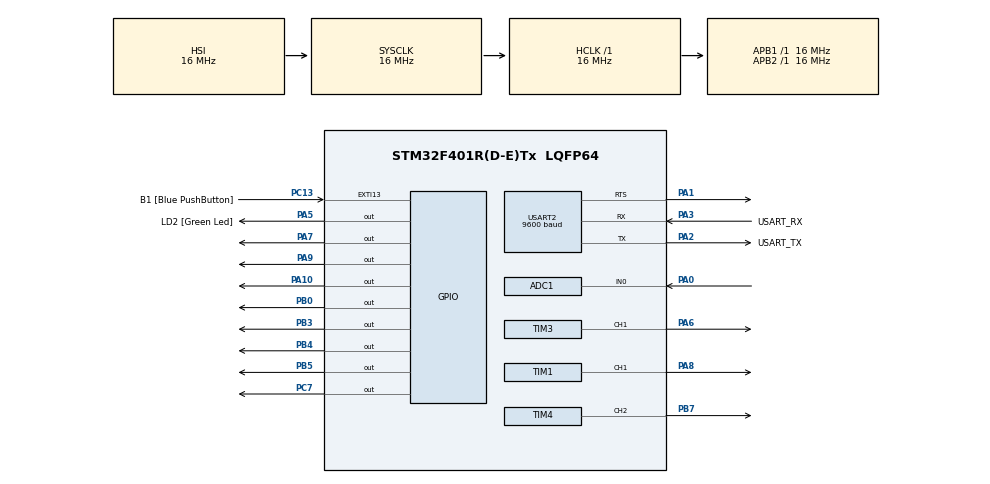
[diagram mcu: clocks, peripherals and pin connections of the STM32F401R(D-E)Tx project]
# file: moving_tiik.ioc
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ADC1.Channel-1\#ChannelRegularConversion=ADC_CHANNEL_0
ADC1.NbrOfConversionFlag=1
ADC1.Rank-1\#ChannelRegularConversion=1
ADC1.SamplingTime-1\#ChannelRegularConversion=ADC_SAMPLETIME_3CYCLES
ADC1.master=1
Dma.MEMTOMEM.0.Direction=DMA_MEMORY_TO_MEMORY
Dma.MEMTOMEM.0.FIFOMode=DMA_FIFOMODE_ENABLE
Dma.MEMTOMEM.0.FIFOThreshold=DMA_FIFO_THRESHOLD_FULL
Dma.MEMTOMEM.0.Instance=DMA2_Stream0
Dma.MEMTOMEM.0.MemBurst=DMA_MBURST_SINGLE
Dma.MEMTOMEM.0.MemDataAlignment=DMA_MDATAALIGN_BYTE
Dma.MEMTOMEM.0.MemInc=DMA_MINC_ENABLE
Dma.MEMTOMEM.0.Mode=DMA_NORMAL
Dma.MEMTOMEM.0.PeriphBurst=DMA_PBURST_SINGLE
Dma.MEMTOMEM.0.PeriphDataAlignment=DMA_PDATAALIGN_BYTE
Dma.MEMTOMEM.0.PeriphInc=DMA_PINC_ENABLE
Dma.MEMTOMEM.0.Priority=DMA_PRIORITY_LOW
Dma.Request0=MEMTOMEM
Mcu.Family=STM32F4
Mcu.Name=STM32F401R(D-E)Tx
Mcu.Package=LQFP64
NVIC.PriorityGroup=NVIC_PRIORITYGROUP_0
NVIC.USART2_IRQn=true\:0\:0\:false\:false\:true\:true\:true\:true
PA0-WKUP.Signal=ADCx_IN0
PA1.Mode=RTS_Only
PA1.Signal=USART2_RTS
PA10.Signal=GPIO_Output
PA13.GPIO_Label=TMS
PA13.Mode=Serial_Wire
PA13.Signal=SYS_JTMS-SWDIO
PA14.GPIO_Label=TCK
PA14.Mode=Serial_Wire
PA14.Signal=SYS_JTCK-SWCLK
PA2.GPIO_Label=USART_TX
PA2.GPIO_Mode=GPIO_MODE_AF_PP
PA2.GPIO_PuPd=GPIO_NOPULL
PA2.GPIO_Speed=GPIO_SPEED_FREQ_LOW
PA2.Mode=Asynchronous
PA2.Signal=USART2_TX
PA3.GPIO_Label=USART_RX
PA3.GPIO_Mode=GPIO_MODE_AF_PP
PA3.GPIO_PuPd=GPIO_NOPULL
PA3.GPIO_Speed=GPIO_SPEED_FREQ_LOW
PA3.Mode=Asynchronous
PA3.Signal=USART2_RX
PA5.GPIO_Label=LD2 [Green Led]
PA5.GPIO_PuPd=GPIO_NOPULL
PA5.GPIO_Speed=GPIO_SPEED_FREQ_LOW
PA5.Signal=GPIO_Output
PA6.Signal=S_TIM3_CH1
PA7.Signal=GPIO_Output
PA8.Signal=S_TIM1_CH1
PA9.Signal=GPIO_Output
PB0.Signal=GPIO_Output
PB3.Signal=GPIO_Output
PB4.Signal=GPIO_Output
PB5.Signal=GPIO_Output
PB7.Signal=S_TIM4_CH2
PC13-ANTI_TAMP.GPIO_Label=B1 [Blue PushButton]
PC13-ANTI_TAMP.GPIO_ModeDefaultEXTI=GPIO_MODE_IT_FALLING
PC13-ANTI_TAMP.GPIO_PuPd=GPIO_NOPULL
PC13-ANTI_TAMP.Signal=GPXTI13
PC14-OSC32_IN.Mode=LSE-External-Oscillator
PC14-OSC32_IN.Signal=RCC_OSC32_IN
PC15-OSC32_OUT.Mode=LSE-External-Oscillator
PC15-OSC32_OUT.Signal=RCC_OSC32_OUT
PC7.Signal=GPIO_Output
PH0\ -\ OSC_IN.Mode=HSE-External-Clock-Source
PH0\ -\ OSC_IN.Signal=RCC_OSC_IN
PH1\ -\ OSC_OUT.Mode=HSE-External-Clock-Source
PH1\ -\ OSC_OUT.Signal=RCC_OSC_OUT
ProjectManager.HeapSize=0x200
ProjectManager.StackSize=0x400
ProjectManager.TargetToolchain=STM32CubeIDE
RCC.48MHZClocksFreq_Value=48000000
RCC.AHBFreq_Value=16000000
RCC.APB1Freq_Value=16000000
RCC.APB1TimFreq_Value=16000000
RCC.APB2Freq_Value=16000000
RCC.APB2TimFreq_Value=16000000
RCC.CortexFreq_Value=16000000
RCC.HCLKFreq_Value=16000000
RCC.HSE_VALUE=8000000
RCC.HSI_VALUE=16000000
RCC.PLLM=4
RCC.PLLN=72
RCC.PLLQ=3
RCC.PLLSourceVirtual=RCC_PLLSOURCE_HSE
RCC.SYSCLKFreq_VALUE=16000000
RCC.VCOOutputFreq_Value=144000000
SH.ADCx_IN0.0=ADC1_IN0,IN0
SH.S_TIM1_CH1.0=TIM1_CH1,PWM Generation1 CH1
SH.S_TIM3_CH1.0=TIM3_CH1,PWM Generation1 CH1
SH.S_TIM4_CH2.0=TIM4_CH2,PWM Generation2 CH2
TIM1.Channel-PWM\ Generation1\ CH1=TIM_CHANNEL_1
TIM1.OC1Preload_PWM=ENABLE
TIM1.Period=3000
TIM1.Prescaler=16-1
TIM1.Pulse-PWM\ Generation1\ CH1=1
TIM2.Period=3000
TIM2.Prescaler=16-1
TIM3.Channel-PWM\ Generation1\ CH1=TIM_CHANNEL_1
TIM3.Period=3000
TIM3.Prescaler=16-1
TIM3.Pulse-PWM\ Generation1\ CH1=1
TIM4.Channel-PWM\ Generation2\ CH2=TIM_CHANNEL_2
TIM4.Period=3000
TIM4.Prescaler=16-1
TIM4.Pulse-PWM\ Generation2\ CH2=1
TIM5.Channel-Output\ Compare1\ No\ Output=TIM_CHANNEL_1
TIM5.Prescaler=16-1
USART2.BaudRate=9600
USART2.Parity=PARITY_NONE
USART2.StopBits=STOPBITS_1
USART2.VirtualMode=VM_ASYNC
VP_TIM1_VS_ClockSourceINT.Mode=Internal
VP_TIM2_VS_ClockSourceINT.Mode=Internal
VP_TIM3_VS_ClockSourceINT.Mode=Internal
VP_TIM4_VS_ClockSourceINT.Mode=Internal
VP_TIM5_VS_ClockSourceINT.Mode=Internal
VP_TIM5_VS_no_output1.Mode=Output Compare1 No Output
board=NUCLEO-F401RE

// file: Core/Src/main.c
/* USER CODE BEGIN Header */
/**
  ******************************************************************************
  * @file           : main.c
  * @brief          : Main program body
  ******************************************************************************
  * @attention
  *
  * Copyright (c) 2024 STMicroelectronics.
  * All rights reserved.
  *
  * This software is licensed under terms that can be found in the LICENSE file
  * in the root directory of this software component.
  * If no LICENSE file comes with this software, it is provided AS-IS.
  *
  ******************************************************************************
  */
/* USER CODE END Header */
#include "main.h"

/* USER CODE BEGIN Includes */
#include "math.h"
#include <stdio.h>
#include <stdint.h>
/* USER CODE END Includes */

ADC_HandleTypeDef hadc1;

TIM_HandleTypeDef htim1;
TIM_HandleTypeDef htim2;
TIM_HandleTypeDef htim3;
TIM_HandleTypeDef htim4;
TIM_HandleTypeDef htim5;

UART_HandleTypeDef huart2;

DMA_HandleTypeDef hdma_memtomem_dma2_stream0;
/* USER CODE BEGIN PV */
uint8_t dataTxBuffer[15] = {0};
uint8_t debugTxBuffer[2] = {0};
uint8_t dataRxBuffer[13] = {0};
/* USER CODE END PV */

void SystemClock_Config(void);
static void MX_GPIO_Init(void);
static void MX_DMA_Init(void);
static void MX_USART2_UART_Init(void);
static void MX_TIM1_Init(void);
static void MX_TIM2_Init(void);
static void MX_TIM3_Init(void);
static void MX_TIM4_Init(void);
static void MX_TIM5_Init(void);
static void MX_ADC1_Init(void);

/* USER CODE BEGIN 0 */

typedef struct Motor Motor;
struct Motor {
	TIM_HandleTypeDef timer;
	uint16_t dirPin;
	GPIO_TypeDef *dirGPIO;
	float currentSpeed;
};

Motor motorN;
Motor motorSE;
Motor motorSO;
Motor motorX;

float maxSpeed;

typedef struct Position Position;
struct Position{
	float x;
	float y;
	float angle;
	float speed;
};

Position TiikPosition;
Position TiikTemporaryPosition;

uint8_t robotState;
uint8_t stop;
uint8_t dataArrived;

float tiikSpeed = 250;

// WARNING :
// motorN c'est moteur avec condo C3
// motorS0 c'est moteur avec condo C4
// motorSE c'est moteur avec condo C2

void initMotors(){

	motorN.timer = htim3;
	motorN.dirPin = GPIO_PIN_3;
	motorN.dirGPIO = GPIOB;
	motorN.currentSpeed = 0;

	motorSO.timer = htim1;
	motorSO.dirPin = GPIO_PIN_10;
	motorSO.dirGPIO = GPIOA;
	motorSO.currentSpeed = 0;

	motorSE.timer = htim4;
	motorSE.dirPin = GPIO_PIN_5;
	motorSE.dirGPIO = GPIOB;
	motorSE.currentSpeed = 0;

	motorX.timer = htim2;
	motorX.dirPin = GPIO_PIN_4;
	motorX.dirGPIO = GPIOB;
	motorX.currentSpeed = 0;

}

void debugTransmit(char data){
	debugTxBuffer[0] = 0x02;
	debugTxBuffer[1] = data;
	HAL_UART_Transmit(&huart2, debugTxBuffer, 2, HAL_MAX_DELAY);
	HAL_UART_Receive_IT(&huart2, dataRxBuffer, 13);
}

void floatToBytes(float value, unsigned char *bytes) {
    unsigned char *ptr = (unsigned char *)&value;
    for (int i = 0; i < sizeof(float); ++i) {
        bytes[i] = ptr[i];
    }
}

void dataTransmit(float position_X,float position_Y,float position_angle){
	floatToBytes(position_X,&dataTxBuffer[3]);
	floatToBytes(position_Y,&dataTxBuffer[7]);
	floatToBytes(position_angle,&dataTxBuffer[11]);

	HAL_UART_Transmit(&huart2, dataTxBuffer, 15, HAL_MAX_DELAY);
	HAL_UART_Receive_IT(&huart2, dataRxBuffer, 13);
}

void setPosition(){
	float position_X = TiikPosition.x;
	float position_Y = TiikPosition.y;
	float position_angle = TiikPosition.angle;

	floatToBytes(position_X,&dataTxBuffer[3]);
	floatToBytes(position_Y,&dataTxBuffer[7]);
	floatToBytes(position_angle,&dataTxBuffer[11]);

}

void calculPosition(float distance, float cosTheta,float sinTheta){
	float position_X = distance*cosTheta + TiikPosition.x;
	float position_Y = distance*sinTheta + TiikPosition.y;
	float position_angle = TiikPosition.angle;

	TiikTemporaryPosition.x = position_X;
	TiikTemporaryPosition.y = position_Y;
	TiikTemporaryPosition.angle = position_angle;

}

void calculPosition2(float angle,float way){
	float robotRadius = 140;
	float wheelRadius = 58/2;
	float position_X = TiikPosition.x;
	float position_Y = TiikPosition.y;
	float tiikAngle = TiikPosition.angle + angle*way*wheelRadius/robotRadius;
	if (tiikAngle < 0){
		tiikAngle += 2*M_PI;
	}
	float position_angle = tiikAngle;

	TiikTemporaryPosition.x = position_X;
	TiikTemporaryPosition.y = position_Y;
	TiikTemporaryPosition.angle = position_angle;
}

void updateTimerPeriod(Motor motor, float speed){
	float internalFrequency = 16000000;
	motor.currentSpeed = speed;
	if (speed > 0){
		HAL_GPIO_WritePin(motor.dirGPIO, motor.dirPin, GPIO_PIN_SET);
		motor.timer.Instance->ARR = (uint16_t) (internalFrequency/(speed*16));
	} else if (speed < 0) {
		HAL_GPIO_WritePin(motor.dirGPIO, motor.dirPin, GPIO_PIN_RESET);
		motor.timer.Instance->ARR = (uint16_t) -(internalFrequency/(speed*16));
	} else {
		motor.timer.Instance->ARR = 0;
	}
	motor.timer.Instance->CNT = 0;
}

void turn3Wheel(float speed,float angle){

	float stepByTurn = 3200;
	float robotRadius = 140;
	float wheelRadius = 58/2;

	float stepToRadians = stepByTurn/(2*M_PI);
	float way;

	TiikTemporaryPosition.x = TiikPosition.x;
	TiikTemporaryPosition.y = TiikPosition.y;
	TiikTemporaryPosition.angle = TiikPosition.angle;

	float angleTiik = angle;

	if (angle < 0){
		angleTiik = angle + 2*M_PI;
	} else {
		angleTiik = angle;
	}

	if (angleTiik > M_PI){
		angleTiik = 2*M_PI - angleTiik;
		way = -1;
	} else {
		angleTiik = angleTiik;
		way = 1;
	}

	angleTiik = angleTiik*robotRadius/wheelRadius;

	float speedTiik = 0.5;
	float minSpeed = 0.5;

	float radianAchieve = 0.0;
	float radianToAchieve = angleTiik;

	int task = 1;

	float rampRadian = 0.5;

	if (radianToAchieve < 2*rampRadian){
		rampRadian = radianToAchieve/2;
	}

	float deltaT = 30;

	float deltaTn = 0.0;
	float tn = 0.0;
	float tn_1 = 0.0;
	float t0 = __HAL_TIM_GetCounter(&htim5)*pow(10,-6);

	float urgencyRamp = 0.25;
	float urgencyRadian  = 0;

	maxSpeed = speed;
	int i = 0;
	while(task){
		if (stop){
			speedTiik = maxSpeed  - ((maxSpeed - minSpeed)*urgencyRadian/urgencyRamp);
		} else if (radianAchieve < rampRadian) {
		    speedTiik = ((maxSpeed - minSpeed)*radianAchieve/rampRadian) + minSpeed;
		} else if (radianToAchieve - radianAchieve < rampRadian){
			speedTiik = maxSpeed - ((maxSpeed-minSpeed)*(radianAchieve-radianToAchieve + rampRadian)/rampRadian);
		} else {
			speedTiik = maxSpeed;
		}

		updateTimerPeriod(motorN,way*speedTiik*stepToRadians);
		updateTimerPeriod(motorSE,way*speedTiik*stepToRadians);
		updateTimerPeriod(motorSO,way*speedTiik*stepToRadians);

		tn = (__HAL_TIM_GetCounter(&htim5)*pow(10,-6) - t0);
		deltaTn = tn - tn_1;
		tn_1 = tn;
		radianAchieve += speedTiik * deltaTn;

		if (radianAchieve > radianToAchieve || urgencyRadian > urgencyRamp){
			task = 0;
		}

		calculPosition2(radianAchieve,way);

		if (stop){
			urgencyRadian += speedTiik * deltaTn;
		}

		if (task) HAL_Delay(deltaT);
		if (i == 50){
			dataTransmit(TiikTemporaryPosition.x,TiikTemporaryPosition.y,TiikTemporaryPosition.angle);
			i = 0;
		}
	}

	updateTimerPeriod(motorN,0);
	updateTimerPeriod(motorSE,0);
	updateTimerPeriod(motorSO,0);

	TiikPosition.x = TiikTemporaryPosition.x;
	TiikPosition.y = TiikTemporaryPosition.y;
	if (TiikTemporaryPosition.angle < 2*M_PI){
		TiikTemporaryPosition.angle = TiikTemporaryPosition.angle + 2*M_PI;
	} else if (TiikTemporaryPosition.angle > 2*M_PI){
		TiikTemporaryPosition.angle = TiikTemporaryPosition.angle - 2*M_PI;
	}
	TiikPosition.angle = TiikTemporaryPosition.angle;

	HAL_Delay(deltaT);

}

void moveForward3Wheel(float speed, float distance, float angle){

	float stepByTurn = 3200;
	float wheelDiameter = 58;
	float stepToDistance = stepByTurn/(M_PI*wheelDiameter);

	float speedTiik = 7;
	float minSpeedTiik = 7;
	float maxSpeed = speed;

	float distanceAchieve = 0.0;
	float distanceToAchieve = distance;

	int task = 1;

	float rampDistance = 150;

	if (distanceToAchieve < 2*rampDistance){
		rampDistance = distanceToAchieve/2;
	}

	float deltaT = 30;

	float deltaTn = 0.0;
	float tn = 0.0;
	float tn_1 = 0.0;
	float t0 = __HAL_TIM_GetCounter(&htim5)*pow(10,-6);

	float urgencyRamp = 150;
	float urgencyDistance  = 0;

	float cosTheta = cos(angle + M_PI/2);
	float sinTheta = sin(angle + M_PI/2);

	float sqrt3 = sqrt(3);
	int i = 0;
	while(task){
		i++;
		if (stop){
			speedTiik = maxSpeed  - ((maxSpeed - minSpeedTiik)*urgencyDistance/urgencyRamp);
		} else if (distanceAchieve <= rampDistance) {
		    speedTiik = ((maxSpeed - minSpeedTiik)*distanceAchieve/rampDistance) + minSpeedTiik;
		} else if (distanceToAchieve - distanceAchieve < rampDistance){
			speedTiik = maxSpeed - ((speed-minSpeedTiik)*(distanceAchieve-distanceToAchieve + rampDistance)/rampDistance);
		} else  {
			speedTiik = maxSpeed;
		}
		float speedN = speedTiik*cosTheta;
		float speedSE = ( speedTiik*((-cosTheta/2)-(sqrt3*sinTheta/2)));
		float speedSO = ( speedTiik*((-cosTheta/2)+(sqrt3*sinTheta/2)));

		updateTimerPeriod(motorN,speedN*stepToDistance);
		updateTimerPeriod(motorSE,speedSE*stepToDistance);
		updateTimerPeriod(motorSO,speedSO*stepToDistance);

		tn = (__HAL_TIM_GetCounter(&htim5)*pow(10,-6) - t0);
		deltaTn = tn - tn_1;
		tn_1 = tn;
		distanceAchieve += speedTiik * deltaTn;

		if (distanceAchieve > distanceToAchieve || urgencyDistance > urgencyRamp){
			task = 0;
		}

		calculPosition(distanceAchieve,cos(angle + TiikPosition.angle),sin(angle + TiikPosition.angle));

		if (stop){
			urgencyDistance += speedTiik * deltaTn;
		}

		if (task) HAL_Delay(deltaT);
		if (i==50){
			dataTransmit(TiikTemporaryPosition.x,TiikTemporaryPosition.y,TiikTemporaryPosition.angle);
			i = 0;
		}
	}

	updateTimerPeriod(motorN,0);
	updateTimerPeriod(motorSE,0);
	updateTimerPeriod(motorSO,0);

	TiikPosition.x = TiikTemporaryPosition.x;
	TiikPosition.y = TiikTemporaryPosition.y;
	if (TiikTemporaryPosition.angle < 2*M_PI){
		TiikTemporaryPosition.angle = TiikTemporaryPosition.angle + 2*M_PI;
	} else if (TiikTemporaryPosition.angle > 2*M_PI){
		TiikTemporaryPosition.angle = TiikTemporaryPosition.angle - 2*M_PI;
	}
	TiikPosition.angle = TiikTemporaryPosition.angle;

	HAL_Delay(deltaT);

}

void initPosition(float x,float y,float angle){
  if (!isnan(x)){
	  TiikPosition.x = x;
  }
  if (!isnan(y)){
	  TiikPosition.y = y;
  }
  if (!isnan(y)){
	  TiikPosition.angle = angle;
  }
  TiikTemporaryPosition.x = x;
  TiikTemporaryPosition.y = y;
  TiikTemporaryPosition.angle = angle;
}

uint32_t regroupBytesToUint32(unsigned char *bytes) {
    uint32_t uint32Value;

    for (int i = 0; i < sizeof(uint32_t); ++i) {
    	uint32Value |= (bytes[i] << (8 * (sizeof(uint32_t) - 1 - i)));
    }

    return uint32Value;
}

float regroupBytesToFloat(unsigned char *bytes) {
    float floatValue;
    unsigned char *value = (unsigned char *)&floatValue;
    for (int i = 0; i < sizeof(float); ++i) {
        *(value + i) = bytes[i];
    }

    return floatValue;
}

void treatData(){
    float position_X_float = regroupBytesToFloat(&dataRxBuffer[1]);
    float position_Y_float = regroupBytesToFloat(&dataRxBuffer[5]);
    float position_angle_float = regroupBytesToFloat(&dataRxBuffer[9]);

	if ((!isnan(position_angle_float)) && (stop == 0)){
		turn3Wheel(M_PI,position_angle_float - TiikPosition.angle);
	}

	if ((!isnan(position_X_float) || !isnan(position_Y_float)) && (stop == 0)){
		float distance = sqrt(pow(position_X_float - TiikPosition.x ,2)+pow(position_Y_float - TiikPosition.y ,2));
		float angle = atan2((position_Y_float - TiikPosition.y),(position_X_float - TiikPosition.x))- TiikPosition.angle;

 		moveForward3Wheel(tiikSpeed,distance,angle);
	}

	stop = 0;

	robotState = 0x00;
	dataTxBuffer[2] = robotState;
	dataArrived = 0;
	dataTransmit(TiikPosition.x,TiikPosition.y,TiikPosition.angle);
}

void initSpeed(){
	updateTimerPeriod(motorN,0);
	updateTimerPeriod(motorSE,0);
	updateTimerPeriod(motorSO,0);
}

void setMotorState(int enable){
	if (enable){
		HAL_GPIO_WritePin(GPIOB, GPIO_PIN_10, GPIO_PIN_SET);
	} else {
		HAL_GPIO_WritePin(GPIOB, GPIO_PIN_10, GPIO_PIN_RESET);
	}
}

// TODO ça : float speedOdd = speed*cos(angle + angleSpeed*__HAL_TIM_GetCounter(&htim2)*(10^(-6)));
/*
void moveForward4Wheel(float speed, float angle, float angleSpeed){

	float factor = 0.0;
	float maxFactor = 1.0;
	float distanceAchieve = 0.0;
	float distanceToAchieve = 100000000.0;
	float acc = 0.02;
	float rampDistance = 0.1*speed*speed;
	float deccDistance = rampDistance;

	float t0 = __HAL_TIM_GetCounter(&htim5)*pow(10,-6);
	float t1 = 0.0;
	int task = 1;

	int value = 100;
	while(value){

		distanceAchieve += speed*factor*t1;
		distanceToAchieve -= speed*factor*t1;

		//if (factor <= maxFactor) factor += acc;
		if (value >= 60) factor += acc;
		if (value <= 40) factor -= acc;
		//if (distanceAchieve == distanceToAchieve) task = 0;

		t1 = __HAL_TIM_GetCounter(&htim5)*pow(10,-6) - t0 + t1;

		float speed1 = (angleSpeed + speed*cos(angle))*factor;
		float speed2 = (angleSpeed + speed*sin(angle))*factor;
		float speed3 = (angleSpeed - speed*cos(angle))*factor;
		float speed4 = (angleSpeed - speed*sin(angle))*factor;

		updateTimerPeriod(motor1,speed1);
		updateTimerPeriod(motor2,speed2);
		updateTimerPeriod(motor3,speed3);
		updateTimerPeriod(motor4,speed4);
		value--;
		HAL_Delay(30);
	}

}
*/

/* USER CODE END 0 */

int main(void)
{

  /* MCU Configuration--------------------------------------------------------*/

  /* Reset of all peripherals, Initializes the Flash interface and the Systick. */
  HAL_Init();

  /* Configure the system clock */
  SystemClock_Config();

  /* Initialize all configured peripherals */
  MX_GPIO_Init();
  MX_DMA_Init();
  MX_USART2_UART_Init();
  MX_TIM1_Init();
  MX_TIM2_Init();
  MX_TIM3_Init();
  MX_TIM4_Init();
  MX_TIM5_Init();
  MX_ADC1_Init();
  /* USER CODE BEGIN 2 */

  HAL_GPIO_WritePin(GPIOA, GPIO_PIN_9, GPIO_PIN_SET);
  HAL_GPIO_WritePin(GPIOC, GPIO_PIN_7, GPIO_PIN_SET);
  HAL_GPIO_WritePin(GPIOA, GPIO_PIN_7, GPIO_PIN_SET);

  HAL_TIM_PWM_Start(&htim1,TIM_CHANNEL_1);
  HAL_TIM_PWM_Start(&htim2,TIM_CHANNEL_1);
  HAL_TIM_PWM_Start(&htim3,TIM_CHANNEL_1);
  HAL_TIM_PWM_Start(&htim4,TIM_CHANNEL_2);
  HAL_TIM_Base_Start_IT(&htim5);

  initMotors();
  setMotorState(0);

  robotState = 0x00;
  dataTxBuffer[2] = robotState;
  dataTxBuffer[0] = 0x54;
  dataTxBuffer[1] = 0x2c;

  initSpeed();
  initPosition(0.0,0.0,0.0);
  setPosition();
  dataArrived = 0;

  HAL_UART_Receive_IT(&huart2, dataRxBuffer, 13);

  /* USER CODE END 2 */

  /* Infinite loop */
  /* USER CODE BEGIN WHILE */
  while (1)
  {

	  if (dataArrived){
		  dataArrived = 0;
		  setMotorState(1);
		  treatData();
		  setMotorState(0);
	  }

    /* USER CODE END WHILE */

  }
}

void SystemClock_Config(void)
{
  RCC_OscInitTypeDef RCC_OscInitStruct = {0};
  RCC_ClkInitTypeDef RCC_ClkInitStruct = {0};

  /** Configure the main internal regulator output voltage
  */
  __HAL_RCC_PWR_CLK_ENABLE();
  __HAL_PWR_VOLTAGESCALING_CONFIG(PWR_REGULATOR_VOLTAGE_SCALE2);

  /** Initializes the RCC Oscillators according to the specified parameters
  * in the RCC_OscInitTypeDef structure.
  */
  RCC_OscInitStruct.OscillatorType = RCC_OSCILLATORTYPE_HSI;
  RCC_OscInitStruct.HSIState = RCC_HSI_ON;
  RCC_OscInitStruct.HSICalibrationValue = RCC_HSICALIBRATION_DEFAULT;
  RCC_OscInitStruct.PLL.PLLState = RCC_PLL_NONE;
  if (HAL_RCC_OscConfig(&RCC_OscInitStruct) != HAL_OK)
  {
    Error_Handler();
  }

  /** Initializes the CPU, AHB and APB buses clocks
  */
  RCC_ClkInitStruct.ClockType = RCC_CLOCKTYPE_HCLK|RCC_CLOCKTYPE_SYSCLK
                              |RCC_CLOCKTYPE_PCLK1|RCC_CLOCKTYPE_PCLK2;
  RCC_ClkInitStruct.SYSCLKSource = RCC_SYSCLKSOURCE_HSI;
  RCC_ClkInitStruct.AHBCLKDivider = RCC_SYSCLK_DIV1;
  RCC_ClkInitStruct.APB1CLKDivider = RCC_HCLK_DIV1;
  RCC_ClkInitStruct.APB2CLKDivider = RCC_HCLK_DIV1;

  if (HAL_RCC_ClockConfig(&RCC_ClkInitStruct, FLASH_LATENCY_0) != HAL_OK)
  {
    Error_Handler();
  }
}

static void MX_ADC1_Init(void)
{

  ADC_ChannelConfTypeDef sConfig = {0};

  /** Configure the global features of the ADC (Clock, Resolution, Data Alignment and number of conversion)
  */
  hadc1.Instance = ADC1;
  hadc1.Init.ClockPrescaler = ADC_CLOCK_SYNC_PCLK_DIV2;
  hadc1.Init.Resolution = ADC_RESOLUTION_12B;
  hadc1.Init.ScanConvMode = DISABLE;
  hadc1.Init.ContinuousConvMode = DISABLE;
  hadc1.Init.DiscontinuousConvMode = DISABLE;
  hadc1.Init.ExternalTrigConvEdge = ADC_EXTERNALTRIGCONVEDGE_NONE;
  hadc1.Init.ExternalTrigConv = ADC_SOFTWARE_START;
  hadc1.Init.DataAlign = ADC_DATAALIGN_RIGHT;
  hadc1.Init.NbrOfConversion = 1;
  hadc1.Init.DMAContinuousRequests = DISABLE;
  hadc1.Init.EOCSelection = ADC_EOC_SINGLE_CONV;
  if (HAL_ADC_Init(&hadc1) != HAL_OK)
  {
    Error_Handler();
  }

  /** Configure for the selected ADC regular channel its corresponding rank in the sequencer and its sample time.
  */
  sConfig.Channel = ADC_CHANNEL_0;
  sConfig.Rank = 1;
  sConfig.SamplingTime = ADC_SAMPLETIME_3CYCLES;
  if (HAL_ADC_ConfigChannel(&hadc1, &sConfig) != HAL_OK)
  {
    Error_Handler();
  }

}

static void MX_TIM1_Init(void)
{

  TIM_ClockConfigTypeDef sClockSourceConfig = {0};
  TIM_MasterConfigTypeDef sMasterConfig = {0};
  TIM_OC_InitTypeDef sConfigOC = {0};
  TIM_BreakDeadTimeConfigTypeDef sBreakDeadTimeConfig = {0};

  htim1.Instance = TIM1;
  htim1.Init.Prescaler = 16-1;
  htim1.Init.CounterMode = TIM_COUNTERMODE_UP;
  htim1.Init.Period = 3000;
  htim1.Init.ClockDivision = TIM_CLOCKDIVISION_DIV1;
  htim1.Init.RepetitionCounter = 0;
  htim1.Init.AutoReloadPreload = TIM_AUTORELOAD_PRELOAD_DISABLE;
  if (HAL_TIM_Base_Init(&htim1) != HAL_OK)
  {
    Error_Handler();
  }
  sClockSourceConfig.ClockSource = TIM_CLOCKSOURCE_INTERNAL;
  if (HAL_TIM_ConfigClockSource(&htim1, &sClockSourceConfig) != HAL_OK)
  {
    Error_Handler();
  }
  if (HAL_TIM_PWM_Init(&htim1) != HAL_OK)
  {
    Error_Handler();
  }
  sMasterConfig.MasterOutputTrigger = TIM_TRGO_RESET;
  sMasterConfig.MasterSlaveMode = TIM_MASTERSLAVEMODE_DISABLE;
  if (HAL_TIMEx_MasterConfigSynchronization(&htim1, &sMasterConfig) != HAL_OK)
  {
    Error_Handler();
  }
  sConfigOC.OCMode = TIM_OCMODE_PWM1;
  sConfigOC.Pulse = 1;
  sConfigOC.OCPolarity = TIM_OCPOLARITY_HIGH;
  sConfigOC.OCNPolarity = TIM_OCNPOLARITY_HIGH;
  sConfigOC.OCFastMode = TIM_OCFAST_DISABLE;
  sConfigOC.OCIdleState = TIM_OCIDLESTATE_RESET;
  sConfigOC.OCNIdleState = TIM_OCNIDLESTATE_RESET;
  if (HAL_TIM_PWM_ConfigChannel(&htim1, &sConfigOC, TIM_CHANNEL_1) != HAL_OK)
  {
    Error_Handler();
  }
  sBreakDeadTimeConfig.OffStateRunMode = TIM_OSSR_DISABLE;
  sBreakDeadTimeConfig.OffStateIDLEMode = TIM_OSSI_DISABLE;
  sBreakDeadTimeConfig.LockLevel = TIM_LOCKLEVEL_OFF;
  sBreakDeadTimeConfig.DeadTime = 0;
  sBreakDeadTimeConfig.BreakState = TIM_BREAK_DISABLE;
  sBreakDeadTimeConfig.BreakPolarity = TIM_BREAKPOLARITY_HIGH;
  sBreakDeadTimeConfig.AutomaticOutput = TIM_AUTOMATICOUTPUT_DISABLE;
  if (HAL_TIMEx_ConfigBreakDeadTime(&htim1, &sBreakDeadTimeConfig) != HAL_OK)
  {
    Error_Handler();
  }
  HAL_TIM_MspPostInit(&htim1);

}

static void MX_TIM2_Init(void)
{

  TIM_ClockConfigTypeDef sClockSourceConfig = {0};
  TIM_MasterConfigTypeDef sMasterConfig = {0};

  htim2.Instance = TIM2;
  htim2.Init.Prescaler = 16-1;
  htim2.Init.CounterMode = TIM_COUNTERMODE_UP;
  htim2.Init.Period = 3000;
  htim2.Init.ClockDivision = TIM_CLOCKDIVISION_DIV1;
  htim2.Init.AutoReloadPreload = TIM_AUTORELOAD_PRELOAD_DISABLE;
  if (HAL_TIM_Base_Init(&htim2) != HAL_OK)
  {
    Error_Handler();
  }
  sClockSourceConfig.ClockSource = TIM_CLOCKSOURCE_INTERNAL;
  if (HAL_TIM_ConfigClockSource(&htim2, &sClockSourceConfig) != HAL_OK)
  {
    Error_Handler();
  }
  sMasterConfig.MasterOutputTrigger = TIM_TRGO_RESET;
  sMasterConfig.MasterSlaveMode = TIM_MASTERSLAVEMODE_DISABLE;
  if (HAL_TIMEx_MasterConfigSynchronization(&htim2, &sMasterConfig) != HAL_OK)
  {
    Error_Handler();
  }

}

static void MX_TIM3_Init(void)
{

  TIM_ClockConfigTypeDef sClockSourceConfig = {0};
  TIM_MasterConfigTypeDef sMasterConfig = {0};
  TIM_OC_InitTypeDef sConfigOC = {0};

  htim3.Instance = TIM3;
  htim3.Init.Prescaler = 16-1;
  htim3.Init.CounterMode = TIM_COUNTERMODE_UP;
  htim3.Init.Period = 3000;
  htim3.Init.ClockDivision = TIM_CLOCKDIVISION_DIV1;
  htim3.Init.AutoReloadPreload = TIM_AUTORELOAD_PRELOAD_DISABLE;
  if (HAL_TIM_Base_Init(&htim3) != HAL_OK)
  {
    Error_Handler();
  }
  sClockSourceConfig.ClockSource = TIM_CLOCKSOURCE_INTERNAL;
  if (HAL_TIM_ConfigClockSource(&htim3, &sClockSourceConfig) != HAL_OK)
  {
    Error_Handler();
  }
  if (HAL_TIM_PWM_Init(&htim3) != HAL_OK)
  {
    Error_Handler();
  }
  sMasterConfig.MasterOutputTrigger = TIM_TRGO_RESET;
  sMasterConfig.MasterSlaveMode = TIM_MASTERSLAVEMODE_DISABLE;
  if (HAL_TIMEx_MasterConfigSynchronization(&htim3, &sMasterConfig) != HAL_OK)
  {
    Error_Handler();
  }
  sConfigOC.OCMode = TIM_OCMODE_PWM1;
  sConfigOC.Pulse = 1;
  sConfigOC.OCPolarity = TIM_OCPOLARITY_HIGH;
  sConfigOC.OCFastMode = TIM_OCFAST_DISABLE;
  if (HAL_TIM_PWM_ConfigChannel(&htim3, &sConfigOC, TIM_CHANNEL_1) != HAL_OK)
  {
    Error_Handler();
  }
  HAL_TIM_MspPostInit(&htim3);

}

static void MX_TIM4_Init(void)
{

  TIM_ClockConfigTypeDef sClockSourceConfig = {0};
  TIM_MasterConfigTypeDef sMasterConfig = {0};
  TIM_OC_InitTypeDef sConfigOC = {0};

  htim4.Instance = TIM4;
  htim4.Init.Prescaler = 16-1;
  htim4.Init.CounterMode = TIM_COUNTERMODE_UP;
  htim4.Init.Period = 3000;
  htim4.Init.ClockDivision = TIM_CLOCKDIVISION_DIV1;
  htim4.Init.AutoReloadPreload = TIM_AUTORELOAD_PRELOAD_DISABLE;
  if (HAL_TIM_Base_Init(&htim4) != HAL_OK)
  {
    Error_Handler();
  }
  sClockSourceConfig.ClockSource = TIM_CLOCKSOURCE_INTERNAL;
  if (HAL_TIM_ConfigClockSource(&htim4, &sClockSourceConfig) != HAL_OK)
  {
    Error_Handler();
  }
  if (HAL_TIM_PWM_Init(&htim4) != HAL_OK)
  {
    Error_Handler();
  }
  sMasterConfig.MasterOutputTrigger = TIM_TRGO_RESET;
  sMasterConfig.MasterSlaveMode = TIM_MASTERSLAVEMODE_DISABLE;
  if (HAL_TIMEx_MasterConfigSynchronization(&htim4, &sMasterConfig) != HAL_OK)
  {
    Error_Handler();
  }
  sConfigOC.OCMode = TIM_OCMODE_PWM1;
  sConfigOC.Pulse = 1;
  sConfigOC.OCPolarity = TIM_OCPOLARITY_HIGH;
  sConfigOC.OCFastMode = TIM_OCFAST_DISABLE;
  if (HAL_TIM_PWM_ConfigChannel(&htim4, &sConfigOC, TIM_CHANNEL_2) != HAL_OK)
  {
    Error_Handler();
  }
  HAL_TIM_MspPostInit(&htim4);

}

static void MX_TIM5_Init(void)
{

  TIM_ClockConfigTypeDef sClockSourceConfig = {0};
  TIM_MasterConfigTypeDef sMasterConfig = {0};
  TIM_OC_InitTypeDef sConfigOC = {0};

  htim5.Instance = TIM5;
  htim5.Init.Prescaler = 16-1;
  htim5.Init.CounterMode = TIM_COUNTERMODE_UP;
  htim5.Init.Period = 4294967295;
  htim5.Init.ClockDivision = TIM_CLOCKDIVISION_DIV1;
  htim5.Init.AutoReloadPreload = TIM_AUTORELOAD_PRELOAD_DISABLE;
  if (HAL_TIM_Base_Init(&htim5) != HAL_OK)
  {
    Error_Handler();
  }
  sClockSourceConfig.ClockSource = TIM_CLOCKSOURCE_INTERNAL;
  if (HAL_TIM_ConfigClockSource(&htim5, &sClockSourceConfig) != HAL_OK)
  {
    Error_Handler();
  }
  if (HAL_TIM_OC_Init(&htim5) != HAL_OK)
  {
    Error_Handler();
  }
  sMasterConfig.MasterOutputTrigger = TIM_TRGO_RESET;
  sMasterConfig.MasterSlaveMode = TIM_MASTERSLAVEMODE_DISABLE;
  if (HAL_TIMEx_MasterConfigSynchronization(&htim5, &sMasterConfig) != HAL_OK)
  {
    Error_Handler();
  }
  sConfigOC.OCMode = TIM_OCMODE_TIMING;
  sConfigOC.Pulse = 0;
  sConfigOC.OCPolarity = TIM_OCPOLARITY_HIGH;
  sConfigOC.OCFastMode = TIM_OCFAST_DISABLE;
  if (HAL_TIM_OC_ConfigChannel(&htim5, &sConfigOC, TIM_CHANNEL_1) != HAL_OK)
  {
    Error_Handler();
  }

}

static void MX_USART2_UART_Init(void)
{

  huart2.Instance = USART2;
  huart2.Init.BaudRate = 9600;
  huart2.Init.WordLength = UART_WORDLENGTH_8B;
  huart2.Init.StopBits = UART_STOPBITS_1;
  huart2.Init.Parity = UART_PARITY_NONE;
  huart2.Init.Mode = UART_MODE_TX_RX;
  huart2.Init.HwFlowCtl = UART_HWCONTROL_RTS;
  huart2.Init.OverSampling = UART_OVERSAMPLING_16;
  if (HAL_UART_Init(&huart2) != HAL_OK)
  {
    Error_Handler();
  }

}

static void MX_DMA_Init(void)
{

  /* DMA controller clock enable */
  __HAL_RCC_DMA2_CLK_ENABLE();

  /* Configure DMA request hdma_memtomem_dma2_stream0 on DMA2_Stream0 */
  hdma_memtomem_dma2_stream0.Instance = DMA2_Stream0;
  hdma_memtomem_dma2_stream0.Init.Channel = DMA_CHANNEL_0;
  hdma_memtomem_dma2_stream0.Init.Direction = DMA_MEMORY_TO_MEMORY;
  hdma_memtomem_dma2_stream0.Init.PeriphInc = DMA_PINC_ENABLE;
  hdma_memtomem_dma2_stream0.Init.MemInc = DMA_MINC_ENABLE;
  hdma_memtomem_dma2_stream0.Init.PeriphDataAlignment = DMA_PDATAALIGN_BYTE;
  hdma_memtomem_dma2_stream0.Init.MemDataAlignment = DMA_MDATAALIGN_BYTE;
  hdma_memtomem_dma2_stream0.Init.Mode = DMA_NORMAL;
  hdma_memtomem_dma2_stream0.Init.Priority = DMA_PRIORITY_LOW;
  hdma_memtomem_dma2_stream0.Init.FIFOMode = DMA_FIFOMODE_ENABLE;
  hdma_memtomem_dma2_stream0.Init.FIFOThreshold = DMA_FIFO_THRESHOLD_FULL;
  hdma_memtomem_dma2_stream0.Init.MemBurst = DMA_MBURST_SINGLE;
  hdma_memtomem_dma2_stream0.Init.PeriphBurst = DMA_PBURST_SINGLE;
  if (HAL_DMA_Init(&hdma_memtomem_dma2_stream0) != HAL_OK)
  {
    Error_Handler( );
  }

}

static void MX_GPIO_Init(void)
{
  GPIO_InitTypeDef GPIO_InitStruct = {0};

  /* GPIO Ports Clock Enable */
  __HAL_RCC_GPIOC_CLK_ENABLE();
  __HAL_RCC_GPIOH_CLK_ENABLE();
  __HAL_RCC_GPIOA_CLK_ENABLE();
  __HAL_RCC_GPIOB_CLK_ENABLE();

  /*Configure GPIO pin Output Level */
  HAL_GPIO_WritePin(GPIOA, LD2_Pin|GPIO_PIN_7|GPIO_PIN_9|GPIO_PIN_10, GPIO_PIN_RESET);

  /*Configure GPIO pin Output Level */
  HAL_GPIO_WritePin(GPIOB, GPIO_PIN_0|GPIO_PIN_3|GPIO_PIN_4|GPIO_PIN_5, GPIO_PIN_RESET);

  /*Configure GPIO pin Output Level */
  HAL_GPIO_WritePin(GPIOC, GPIO_PIN_7, GPIO_PIN_RESET);

  /*Configure GPIO pin : B1_Pin */
  GPIO_InitStruct.Pin = B1_Pin;
  GPIO_InitStruct.Mode = GPIO_MODE_IT_FALLING;
  GPIO_InitStruct.Pull = GPIO_NOPULL;
  HAL_GPIO_Init(B1_GPIO_Port, &GPIO_InitStruct);

  /*Configure GPIO pins : LD2_Pin PA7 PA9 PA10 */
  GPIO_InitStruct.Pin = LD2_Pin|GPIO_PIN_7|GPIO_PIN_9|GPIO_PIN_10;
  GPIO_InitStruct.Mode = GPIO_MODE_OUTPUT_PP;
  GPIO_InitStruct.Pull = GPIO_NOPULL;
  GPIO_InitStruct.Speed = GPIO_SPEED_FREQ_LOW;
  HAL_GPIO_Init(GPIOA, &GPIO_InitStruct);

  /*Configure GPIO pins : PB0 PB3 PB4 PB5 */
  GPIO_InitStruct.Pin = GPIO_PIN_0|GPIO_PIN_3|GPIO_PIN_4|GPIO_PIN_5;
  GPIO_InitStruct.Mode = GPIO_MODE_OUTPUT_PP;
  GPIO_InitStruct.Pull = GPIO_NOPULL;
  GPIO_InitStruct.Speed = GPIO_SPEED_FREQ_LOW;
  HAL_GPIO_Init(GPIOB, &GPIO_InitStruct);

  /*Configure GPIO pin : PC7 */
  GPIO_InitStruct.Pin = GPIO_PIN_7;
  GPIO_InitStruct.Mode = GPIO_MODE_OUTPUT_PP;
  GPIO_InitStruct.Pull = GPIO_NOPULL;
  GPIO_InitStruct.Speed = GPIO_SPEED_FREQ_LOW;
  HAL_GPIO_Init(GPIOC, &GPIO_InitStruct);

}

/* USER CODE BEGIN 4 */

void HAL_UART_RxCpltCallback(UART_HandleTypeDef *huart)
{
	if (dataRxBuffer[0] == 0x01){
		dataRxBuffer[0] = 0x00;
		stop = 1;
	} else if (dataRxBuffer[0] == 0x02){
		dataRxBuffer[0] = 0x00;
		if (dataTxBuffer[2] == 0x00){
			robotState = 0x01;
			dataTxBuffer[2] = robotState;
			dataArrived = 1;
			tiikSpeed = 300;
		}
	} else if (dataRxBuffer[0] == 0x03){
		dataRxBuffer[0] = 0x00;
		if (dataTxBuffer[2] == 0x00){

		    float position_X_float = regroupBytesToFloat(&dataRxBuffer[1]);
		    float position_Y_float = regroupBytesToFloat(&dataRxBuffer[5]);
		    float position_angle_float = regroupBytesToFloat(&dataRxBuffer[9]);

		    initPosition(position_X_float,position_Y_float,position_angle_float);
		    setPosition();

		    TiikTemporaryPosition.x = TiikPosition.x;
		    TiikTemporaryPosition.y = TiikPosition.y;
		    TiikTemporaryPosition.angle = TiikPosition.angle;
		}
	} else if (dataRxBuffer[0] == 0x04){
		dataRxBuffer[0] = 0x00;
		if (dataTxBuffer[2] == 0x00){
			robotState = 0x01;
			dataTxBuffer[2] = robotState;
			dataArrived = 1;
			tiikSpeed = 100;
		}
	}

	dataTransmit(TiikTemporaryPosition.x,TiikTemporaryPosition.y,TiikTemporaryPosition.angle);
	/*
	HAL_UART_Transmit(&huart2, txBuffer, 13, HAL_MAX_DELAY);
	if (rxBuffer[0] == 0x00){
		HAL_UART_Transmit(&huart2, txBuffer, 13, HAL_MAX_DELAY);
		treatData();
	} else if (rxBufferData[0] == 0x01) {
		rxBuffer[0] = 0x00;
		stop = 1;
	} else if (rxBufferData[0] == 0x02){
		HAL_UART_Transmit(&huart2, txBuffer, 13, HAL_MAX_DELAY);
		rxBuffer[0] = 0x00;
		HAL_UART_Receive_IT(&huart2, rxBufferData, 13);
	}

	HAL_UART_Receive_IT(&huart2, dataRxBuffer, 13);
	*/
}

/* USER CODE END 4 */

void Error_Handler(void)
{
  __disable_irq();
  while (1)
  {
  }
}
